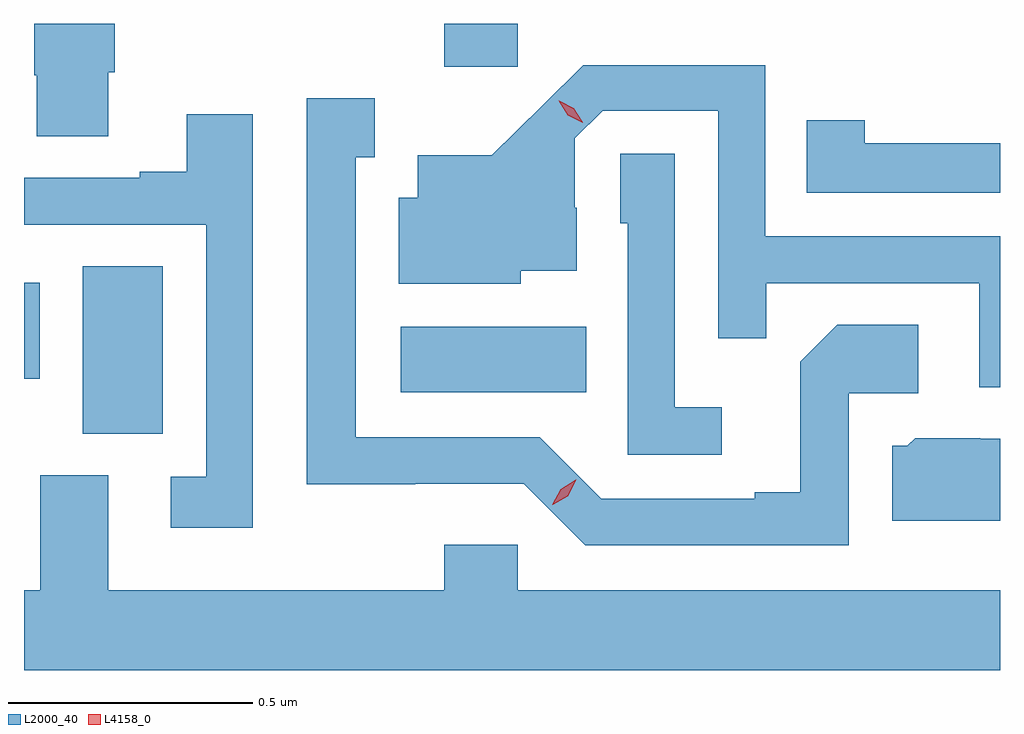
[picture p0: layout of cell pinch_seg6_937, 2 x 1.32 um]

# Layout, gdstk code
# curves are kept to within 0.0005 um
import gdstk
lib = gdstk.Library(unit=1e-6, precision=1e-09)
def R(c, l, rs):  # rectangles x0, y0, x1, y1
    for r in rs: c.add(gdstk.rectangle(r[:2], r[2:], *l))
def P(c, l, *ps):  # polygons
    for p in ps: c.add(gdstk.Polygon(p, *l))
L2000_40 = (2000, 40)
L4158_0 = (4158, 0)

pinch_seg6_937 = lib.new_cell('pinch_seg6_937')
R(pinch_seg6_937, L2000_40, [(157.37,923.845,157.534,924.188), (158.022,923.93,158.402,924.064), (157.25,923.957,157.282,924.154), (158.111,924.597,158.262,924.685)])
P(pinch_seg6_937, L2000_40, [(157.423,924.586),(157.436,924.586),(157.436,924.685),(157.271,924.685),(157.271,924.579),(157.276,924.579),(157.276,924.454),(157.423,924.454)],
  [(159.25,924.249),(158.769,924.249),(158.769,924.6),(158.396,924.6),(158.209,924.415),(158.057,924.415),(158.057,924.328),(158.018,924.328),(158.018,924.152),(158.268,924.152),(158.268,924.179),(158.383,924.179),(158.383,924.308),(158.379,924.308),(158.379,924.45),(158.436,924.507),(158.673,924.507),(158.673,924.04),(158.771,924.04),(158.771,924.153),(159.207,924.153),(159.207,923.94),(159.25,923.94)],
  [(158.94,923.928),(159.082,923.928),(159.082,924.068),(158.917,924.068),(158.841,923.992),(158.841,923.725),(158.747,923.725),(158.747,923.712),(158.433,923.712),(158.307,923.838),(157.93,923.838),(157.93,924.411),(157.969,924.411),(157.969,924.532),(157.829,924.532),(157.829,923.741),(158.052,923.741),(158.052,923.742),(158.274,923.742),(158.4,923.616),(158.94,923.616)],
  [(157.719,924.499),(157.583,924.499),(157.583,924.382),(157.487,924.382),(157.487,924.369),(157.25,924.369),(157.25,924.273),(157.623,924.273),(157.623,923.757),(157.551,923.757),(157.551,923.652),(157.719,923.652)],
  [(159.25,924.44),(158.973,924.44),(158.973,924.487),(158.854,924.487),(158.854,924.339),(159.25,924.339)],
  [(158.68,923.899),(158.583,923.899),(158.583,924.419),(158.472,924.419),(158.472,924.276),(158.487,924.276),(158.487,923.802),(158.68,923.802)],
  [(159.25,923.835),(159.21,923.835),(159.21,923.836),(159.076,923.836),(159.06,923.82),(159.029,923.82),(159.029,923.666),(159.25,923.666)],
  [(159.25,923.524),(158.262,923.524),(158.262,923.617),(158.111,923.617),(158.111,923.524),(157.423,923.524),(157.423,923.76),(157.283,923.76),(157.283,923.524),(157.25,923.524),(157.25,923.36),(159.25,923.36)])
P(pinch_seg6_937, L4158_0, [(158.332,923.699),(158.332,923.699),(158.35,923.731),(158.381,923.75),(158.382,923.75),(158.382,923.75),(158.364,923.717),(158.333,923.699)],
  [(158.395,924.482),(158.364,924.497),(158.346,924.527),(158.346,924.527),(158.347,924.527),(158.377,924.512),(158.395,924.483),(158.395,924.482)])

lib.write_gds('pinch_seg6_937.gds')
